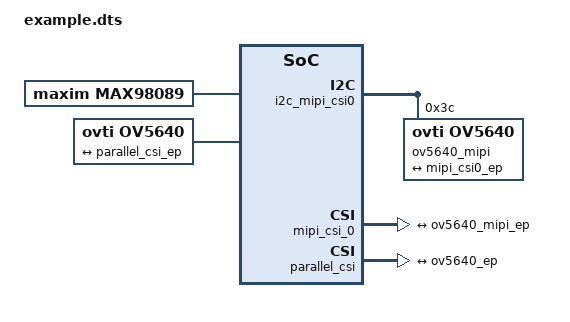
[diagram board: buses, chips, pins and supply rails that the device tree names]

*******************************************************************************
/build/linux/scripts/dtc/include-prefixes/arm64/digi/ccimx8x-sbc-pro.dts

/*
 * I2C3 connected to Audio codec and USB 3.0 PD PHY.
 * Also available on:
 * - Expansion header
 * - PCIe connector
 * - Parallel Camera connector
 */
&i2c3 {
	status = "okay";
};

/* MIPI-CSI0 I2C available on MIPI Camera connector */
&i2c_mipi_csi0 {
	status = "okay";
};

/* MIPI camera */
&mipi_csi_0 {
	status = "okay";
};

&ov5640_mipi {
	status = "okay";
};


*******************************************************************************
build/linux/scripts/dtc/include-prefixes/arm64/digi/ccimx8x-sbc-pro.dtsi
/*
 * I2C3 connected to Audio codec and USB 3.0 PD PHY.
 * Also available on:
 * - Expansion header
 * - PCIe connector
 * - Parallel Camera connector
 */
&i2c3 {
	max98089: codec@10 {
		compatible = "maxim,max98089";
		reg = <0x10>;
	};
        /* CSI Parallel Camera */
	ov5640: ov5640@3c {
		compatible = "ovti,ov5640";
		reg = <0x3c>;

		port {
			ov5640_ep: endpoint {
				remote-endpoint = <&parallel_csi_ep>;
			};
		};
	};
}

&parallel_csi {
	port@0 {
		parallel_csi_ep: endpoint {
			remote-endpoint = <&ov5640_ep>;
		};
	};
};

/* MIPI-CSI0 I2C available on MIPI Camera connector */
&i2c_mipi_csi0 {
	/* MIPI-CSI2 camera */
	ov5640_mipi: ov5640_mipi@3c {
		compatible = "ovti,ov5640";
		reg = <0x3c>;

		port {
			ov5640_mipi_ep: endpoint {
				remote-endpoint = <&mipi_csi0_ep>;
			};
		};
	};
};

&mipi_csi_0 {
	/* Camera 0  MIPI CSI-2 (CSIS0) */
	port@0 {
		mipi_csi0_ep: endpoint {
			remote-endpoint = <&ov5640_mipi_ep>;
		};
	};
};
